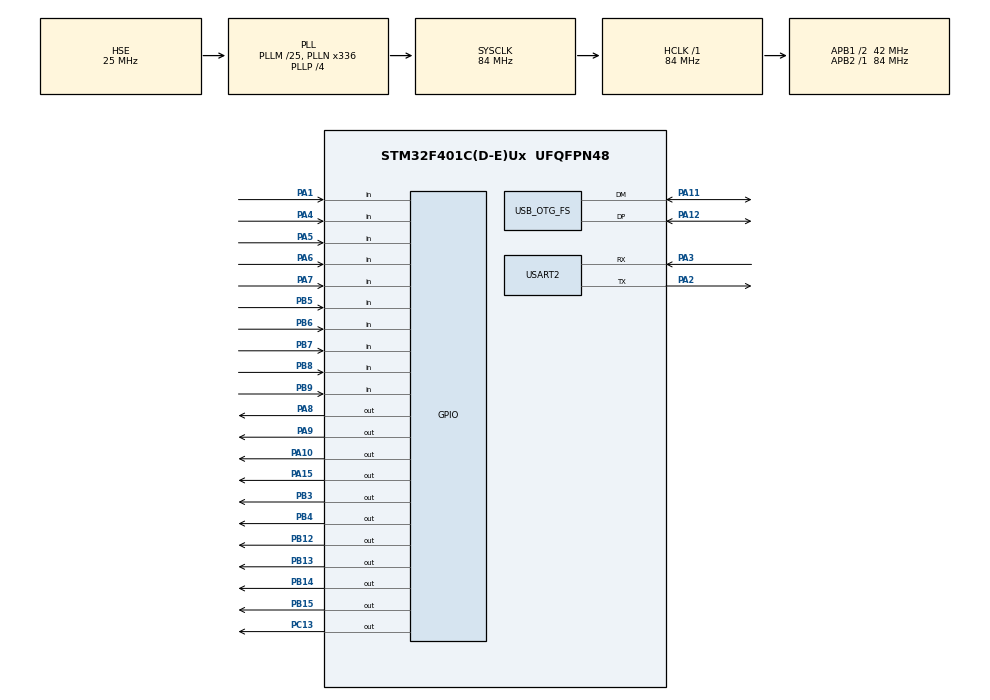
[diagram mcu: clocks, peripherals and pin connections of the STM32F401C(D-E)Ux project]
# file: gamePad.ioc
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FREERTOS.Tasks01=usbTask,32,128,StartUSBTask,Default,NULL,Dynamic,NULL,NULL;ledTask,16,128,StartLEDTask,Default,NULL,Dynamic,NULL,NULL;radioTask,32,128,StartRadioTask,Default,NULL,Dynamic,NULL,NULL;heartbeatTask,8,128,StartHeartbeatTask,Default,NULL,Dynamic,NULL,NULL;uartTask,16,128,StartUARTTask,Default,NULL,Dynamic,NULL,NULL;buttonInputTask,8,128,StartButtonInputTask,Default,NULL,Dynamic,NULL,NULL
FREERTOS.configENABLE_FPU=1
Mcu.Family=STM32F4
Mcu.Name=STM32F401C(D-E)Ux
Mcu.Package=UFQFPN48
NVIC.OTG_FS_IRQn=true\:0\:0\:false\:false\:true\:false\:false\:true
NVIC.PriorityGroup=NVIC_PRIORITYGROUP_4
NVIC.TIM1_UP_TIM10_IRQn=true\:0\:0\:false\:false\:true\:false\:true\:true
NVIC.TimeBase=TIM1_UP_TIM10_IRQn
NVIC.TimeBaseIP=TIM1
NVIC.USART2_IRQn=true\:0\:0\:false\:false\:true\:false\:true\:true
PA1.Signal=GPIO_Input
PA10.GPIO_ModeDefaultOutputPP=GPIO_MODE_OUTPUT_PP
PA10.GPIO_PuPd=GPIO_PULLUP
PA10.Signal=GPIO_Output
PA11.Mode=Device_Only
PA11.Signal=USB_OTG_FS_DM
PA12.Mode=Device_Only
PA12.Signal=USB_OTG_FS_DP
PA13.Mode=Serial_Wire
PA13.Signal=SYS_JTMS-SWDIO
PA14.Mode=Serial_Wire
PA14.Signal=SYS_JTCK-SWCLK
PA15.GPIO_ModeDefaultOutputPP=GPIO_MODE_OUTPUT_PP
PA15.GPIO_PuPd=GPIO_PULLUP
PA15.Signal=GPIO_Output
PA2.Mode=Asynchronous
PA2.Signal=USART2_TX
PA3.Mode=Asynchronous
PA3.Signal=USART2_RX
PA4.Signal=GPIO_Input
PA5.Signal=GPIO_Input
PA6.Signal=GPIO_Input
PA7.Signal=GPIO_Input
PA8.GPIO_ModeDefaultOutputPP=GPIO_MODE_OUTPUT_PP
PA8.GPIO_PuPd=GPIO_PULLUP
PA8.Signal=GPIO_Output
PA9.GPIO_ModeDefaultOutputPP=GPIO_MODE_OUTPUT_PP
PA9.GPIO_PuPd=GPIO_PULLUP
PA9.Signal=GPIO_Output
PB12.GPIO_ModeDefaultOutputPP=GPIO_MODE_OUTPUT_PP
PB12.GPIO_PuPd=GPIO_PULLUP
PB12.Signal=GPIO_Output
PB13.GPIO_ModeDefaultOutputPP=GPIO_MODE_OUTPUT_PP
PB13.GPIO_PuPd=GPIO_PULLUP
PB13.Signal=GPIO_Output
PB14.GPIO_ModeDefaultOutputPP=GPIO_MODE_OUTPUT_PP
PB14.GPIO_PuPd=GPIO_PULLUP
PB14.Signal=GPIO_Output
PB15.GPIO_ModeDefaultOutputPP=GPIO_MODE_OUTPUT_PP
PB15.GPIO_PuPd=GPIO_PULLUP
PB15.Signal=GPIO_Output
PB3.GPIO_ModeDefaultOutputPP=GPIO_MODE_OUTPUT_PP
PB3.GPIO_PuPd=GPIO_PULLUP
PB3.Signal=GPIO_Output
PB4.GPIO_ModeDefaultOutputPP=GPIO_MODE_OUTPUT_PP
PB4.GPIO_PuPd=GPIO_PULLUP
PB4.Signal=GPIO_Output
PB5.Signal=GPIO_Input
PB6.Signal=GPIO_Input
PB7.Signal=GPIO_Input
PB8.Signal=GPIO_Input
PB9.Signal=GPIO_Input
PC13-ANTI_TAMP.GPIO_ModeDefaultOutputPP=GPIO_MODE_OUTPUT_PP
PC13-ANTI_TAMP.GPIO_PuPd=GPIO_PULLUP
PC13-ANTI_TAMP.Signal=GPIO_Output
PC14-OSC32_IN.Mode=LSE-External-Oscillator
PC14-OSC32_IN.Signal=RCC_OSC32_IN
PC15-OSC32_OUT.Mode=LSE-External-Oscillator
PC15-OSC32_OUT.Signal=RCC_OSC32_OUT
PH0\ -\ OSC_IN.Mode=HSE-External-Oscillator
PH0\ -\ OSC_IN.Signal=RCC_OSC_IN
PH1\ -\ OSC_OUT.Mode=HSE-External-Oscillator
PH1\ -\ OSC_OUT.Signal=RCC_OSC_OUT
ProjectManager.HeapSize=0x200
ProjectManager.StackSize=0x400
ProjectManager.TargetToolchain=STM32CubeIDE
RCC.48MHZClocksFreq_Value=48000000
RCC.AHBFreq_Value=84000000
RCC.APB1CLKDivider=RCC_HCLK_DIV2
RCC.APB1Freq_Value=42000000
RCC.APB1TimFreq_Value=84000000
RCC.APB2Freq_Value=84000000
RCC.APB2TimFreq_Value=84000000
RCC.CortexFreq_Value=84000000
RCC.HCLKFreq_Value=84000000
RCC.HSE_VALUE=25000000
RCC.HSI_VALUE=16000000
RCC.PLLM=25
RCC.PLLN=336
RCC.PLLP=RCC_PLLP_DIV4
RCC.PLLQ=7
RCC.SYSCLKFreq_VALUE=84000000
RCC.SYSCLKSource=RCC_SYSCLKSOURCE_PLLCLK
RCC.VCOOutputFreq_Value=336000000
USART2.VirtualMode=VM_ASYNC
USB_DEVICE.CLASS_NAME_FS=HID
USB_DEVICE.MANUFACTURER_STRING-HID_FS=gigahurtz
USB_DEVICE.PID_HID_FS=1
USB_DEVICE.PRODUCT_STRING_HID_FS=gamepad v1
USB_DEVICE.VID-HID_FS=13330
USB_DEVICE.VirtualMode-HID_FS=Hid
USB_DEVICE.VirtualModeFS=Hid_FS
USB_OTG_FS.VirtualMode=Device_Only
VP_FREERTOS_VS_CMSIS_V2.Mode=CMSIS_V2
VP_SYS_VS_tim1.Mode=TIM1
VP_USB_DEVICE_VS_USB_DEVICE_HID_FS.Mode=HID_FS
board=custom

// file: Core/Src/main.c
/* USER CODE BEGIN Header */
/**
  ******************************************************************************
  * @file           : main.c
  * @brief          : Main program body
  ******************************************************************************
  * @attention
  *
  * <h2><center>&copy; Copyright (c) 2020 STMicroelectronics.
  * All rights reserved.</center></h2>
  *
  * This software component is licensed by ST under BSD 3-Clause license,
  * the "License"; You may not use this file except in compliance with the
  * License. You may obtain a copy of the License at:
  *                        opensource.org/licenses/BSD-3-Clause
  *
  ******************************************************************************
  */
/* USER CODE END Header */
#include "main.h"
#include "cmsis_os.h"
#include "usb_device.h"

/* USER CODE BEGIN Includes */
#include "string.h"
#include "stdio.h"
#include "lightbar.h"
#include "buttons.h"
/* USER CODE END Includes */

UART_HandleTypeDef huart2;

/* Definitions for usbTask */
osThreadId_t usbTaskHandle;
const osThreadAttr_t usbTask_attributes = {
  .name = "usbTask",
  .priority = (osPriority_t) osPriorityAboveNormal,
  .stack_size = 128 * 4
};
/* Definitions for ledTask */
osThreadId_t ledTaskHandle;
const osThreadAttr_t ledTask_attributes = {
  .name = "ledTask",
  .priority = (osPriority_t) osPriorityBelowNormal,
  .stack_size = 128 * 4
};
/* Definitions for radioTask */
osThreadId_t radioTaskHandle;
const osThreadAttr_t radioTask_attributes = {
  .name = "radioTask",
  .priority = (osPriority_t) osPriorityAboveNormal,
  .stack_size = 128 * 4
};
/* Definitions for heartbeatTask */
osThreadId_t heartbeatTaskHandle;
const osThreadAttr_t heartbeatTask_attributes = {
  .name = "heartbeatTask",
  .priority = (osPriority_t) osPriorityLow,
  .stack_size = 128 * 4
};
/* Definitions for uartTask */
osThreadId_t uartTaskHandle;
const osThreadAttr_t uartTask_attributes = {
  .name = "uartTask",
  .priority = (osPriority_t) osPriorityBelowNormal,
  .stack_size = 128 * 4
};
/* Definitions for buttonInputTask */
osThreadId_t buttonInputTaskHandle;
const osThreadAttr_t buttonInputTask_attributes = {
  .name = "buttonInputTask",
  .priority = (osPriority_t) osPriorityLow,
  .stack_size = 128 * 4
};
/* USER CODE BEGIN PV */

uint16_t blinkTimer = 0;
uint16_t inputPollTimer = 0;			//Initialise as 5 so that calls fall 5ms either side of blink calls, instead of overlapping every time
uint16_t lightbarUpdateTimer = 0;		//

char outBuff[64] = {0};

uint16_t temp;

/* USER CODE END PV */

void SystemClock_Config(void);
static void MX_GPIO_Init(void);
static void MX_USART2_UART_Init(void);
void StartUSBTask(void *argument);
void StartLEDTask(void *argument);
void StartRadioTask(void *argument);
void StartHeartbeatTask(void *argument);
void StartUARTTask(void *argument);
void StartButtonInputTask(void *argument);

/* USER CODE BEGIN PFP */
void debugPrint(char _out[]);
/* USER CODE END PFP */

int main(void)
{

  /* MCU Configuration--------------------------------------------------------*/

  /* Reset of all peripherals, Initializes the Flash interface and the Systick. */
  HAL_Init();

  /* Configure the system clock */
  SystemClock_Config();

  /* Initialize all configured peripherals */
  MX_GPIO_Init();
  MX_USART2_UART_Init();

  /* Init scheduler */
  osKernelInitialize();

  /* Create the thread(s) */
  /* creation of usbTask */
  usbTaskHandle = osThreadNew(StartUSBTask, NULL, &usbTask_attributes);

  /* creation of ledTask */
  ledTaskHandle = osThreadNew(StartLEDTask, NULL, &ledTask_attributes);

  /* creation of radioTask */
  radioTaskHandle = osThreadNew(StartRadioTask, NULL, &radioTask_attributes);

  /* creation of heartbeatTask */
  heartbeatTaskHandle = osThreadNew(StartHeartbeatTask, NULL, &heartbeatTask_attributes);

  /* creation of uartTask */
  uartTaskHandle = osThreadNew(StartUARTTask, NULL, &uartTask_attributes);

  /* creation of buttonInputTask */
  buttonInputTaskHandle = osThreadNew(StartButtonInputTask, NULL, &buttonInputTask_attributes);

  /* Start scheduler */
  osKernelStart();

  /* We should never get here as control is now taken by the scheduler */
  /* Infinite loop */
  while (1)
  {

  }
}

void SystemClock_Config(void)
{
  RCC_OscInitTypeDef RCC_OscInitStruct = {0};
  RCC_ClkInitTypeDef RCC_ClkInitStruct = {0};

  /** Configure the main internal regulator output voltage
  */
  __HAL_RCC_PWR_CLK_ENABLE();
  __HAL_PWR_VOLTAGESCALING_CONFIG(PWR_REGULATOR_VOLTAGE_SCALE2);
  /** Initializes the RCC Oscillators according to the specified parameters
  * in the RCC_OscInitTypeDef structure.
  */
  RCC_OscInitStruct.OscillatorType = RCC_OSCILLATORTYPE_HSE;
  RCC_OscInitStruct.HSEState = RCC_HSE_ON;
  RCC_OscInitStruct.PLL.PLLState = RCC_PLL_ON;
  RCC_OscInitStruct.PLL.PLLSource = RCC_PLLSOURCE_HSE;
  RCC_OscInitStruct.PLL.PLLM = 25;
  RCC_OscInitStruct.PLL.PLLN = 336;
  RCC_OscInitStruct.PLL.PLLP = RCC_PLLP_DIV4;
  RCC_OscInitStruct.PLL.PLLQ = 7;
  if (HAL_RCC_OscConfig(&RCC_OscInitStruct) != HAL_OK)
  {
    Error_Handler();
  }
  /** Initializes the CPU, AHB and APB buses clocks
  */
  RCC_ClkInitStruct.ClockType = RCC_CLOCKTYPE_HCLK|RCC_CLOCKTYPE_SYSCLK
                              |RCC_CLOCKTYPE_PCLK1|RCC_CLOCKTYPE_PCLK2;
  RCC_ClkInitStruct.SYSCLKSource = RCC_SYSCLKSOURCE_PLLCLK;
  RCC_ClkInitStruct.AHBCLKDivider = RCC_SYSCLK_DIV1;
  RCC_ClkInitStruct.APB1CLKDivider = RCC_HCLK_DIV2;
  RCC_ClkInitStruct.APB2CLKDivider = RCC_HCLK_DIV1;

  if (HAL_RCC_ClockConfig(&RCC_ClkInitStruct, FLASH_LATENCY_2) != HAL_OK)
  {
    Error_Handler();
  }
}

static void MX_USART2_UART_Init(void)
{

  huart2.Instance = USART2;
  huart2.Init.BaudRate = 115200;
  huart2.Init.WordLength = UART_WORDLENGTH_8B;
  huart2.Init.StopBits = UART_STOPBITS_1;
  huart2.Init.Parity = UART_PARITY_NONE;
  huart2.Init.Mode = UART_MODE_TX_RX;
  huart2.Init.HwFlowCtl = UART_HWCONTROL_NONE;
  huart2.Init.OverSampling = UART_OVERSAMPLING_16;
  if (HAL_UART_Init(&huart2) != HAL_OK)
  {
    Error_Handler();
  }

}

static void MX_GPIO_Init(void)
{
  GPIO_InitTypeDef GPIO_InitStruct = {0};

  /* GPIO Ports Clock Enable */
  __HAL_RCC_GPIOC_CLK_ENABLE();
  __HAL_RCC_GPIOH_CLK_ENABLE();
  __HAL_RCC_GPIOA_CLK_ENABLE();
  __HAL_RCC_GPIOB_CLK_ENABLE();

  /*Configure GPIO pin Output Level */
  HAL_GPIO_WritePin(GPIOC, GPIO_PIN_13, GPIO_PIN_RESET);

  /*Configure GPIO pin Output Level */
  HAL_GPIO_WritePin(GPIOB, GPIO_PIN_12|GPIO_PIN_13|GPIO_PIN_14|GPIO_PIN_15
                          |GPIO_PIN_3|GPIO_PIN_4, GPIO_PIN_RESET);

  /*Configure GPIO pin Output Level */
  HAL_GPIO_WritePin(GPIOA, GPIO_PIN_8|GPIO_PIN_9|GPIO_PIN_10|GPIO_PIN_15, GPIO_PIN_RESET);

  /*Configure GPIO pin : PC13 */
  GPIO_InitStruct.Pin = GPIO_PIN_13;
  GPIO_InitStruct.Mode = GPIO_MODE_OUTPUT_PP;
  GPIO_InitStruct.Pull = GPIO_PULLUP;
  GPIO_InitStruct.Speed = GPIO_SPEED_FREQ_LOW;
  HAL_GPIO_Init(GPIOC, &GPIO_InitStruct);

  /*Configure GPIO pins : PA1 PA4 PA5 PA6
                           PA7 */
  GPIO_InitStruct.Pin = GPIO_PIN_1|GPIO_PIN_4|GPIO_PIN_5|GPIO_PIN_6
                          |GPIO_PIN_7;
  GPIO_InitStruct.Mode = GPIO_MODE_INPUT;
  GPIO_InitStruct.Pull = GPIO_NOPULL;
  HAL_GPIO_Init(GPIOA, &GPIO_InitStruct);

  /*Configure GPIO pins : PB12 PB13 PB14 PB15
                           PB3 PB4 */
  GPIO_InitStruct.Pin = GPIO_PIN_12|GPIO_PIN_13|GPIO_PIN_14|GPIO_PIN_15
                          |GPIO_PIN_3|GPIO_PIN_4;
  GPIO_InitStruct.Mode = GPIO_MODE_OUTPUT_PP;
  GPIO_InitStruct.Pull = GPIO_PULLUP;
  GPIO_InitStruct.Speed = GPIO_SPEED_FREQ_LOW;
  HAL_GPIO_Init(GPIOB, &GPIO_InitStruct);

  /*Configure GPIO pins : PA8 PA9 PA10 PA15 */
  GPIO_InitStruct.Pin = GPIO_PIN_8|GPIO_PIN_9|GPIO_PIN_10|GPIO_PIN_15;
  GPIO_InitStruct.Mode = GPIO_MODE_OUTPUT_PP;
  GPIO_InitStruct.Pull = GPIO_PULLUP;
  GPIO_InitStruct.Speed = GPIO_SPEED_FREQ_LOW;
  HAL_GPIO_Init(GPIOA, &GPIO_InitStruct);

  /*Configure GPIO pins : PB5 PB6 PB7 PB8
                           PB9 */
  GPIO_InitStruct.Pin = GPIO_PIN_5|GPIO_PIN_6|GPIO_PIN_7|GPIO_PIN_8
                          |GPIO_PIN_9;
  GPIO_InitStruct.Mode = GPIO_MODE_INPUT;
  GPIO_InitStruct.Pull = GPIO_NOPULL;
  HAL_GPIO_Init(GPIOB, &GPIO_InitStruct);

}

/* USER CODE BEGIN 4 */

void debugPrint(char _out[])
{
	HAL_UART_Transmit_IT(&huart2, (uint8_t *) _out, strlen(_out));
}

/* USER CODE END 4 */

void StartUSBTask(void *argument)
{
  /* init code for USB_DEVICE */
  MX_USB_DEVICE_Init();
  /* USER CODE BEGIN 5 */

  uint16_t status;

  usbInit();

  /* Infinite loop */
  for(;;)
  {
	// Send HID report
	buttons_getStatus(&status);
	usbSend(status);
    osDelay(10);
  }
  /* USER CODE END 5 */
}

void StartLEDTask(void *argument)
{
  /* USER CODE BEGIN StartLEDTask */
  /* Infinite loop */
  for(;;)
  {
	lightbar_update();
    osDelay(LIGHTBAR_UPDATE_PERIOD_MS);
  }
  /* USER CODE END StartLEDTask */
}

void StartRadioTask(void *argument)
{
  /* USER CODE BEGIN StartRadioTask */
  /* Infinite loop */
  for(;;)
  {
	//TODO: implement nRF24L01 radio
    osDelay(10000);
  }
  /* USER CODE END StartRadioTask */
}

void StartHeartbeatTask(void *argument)
{
  /* USER CODE BEGIN StartHeartbeatTask */
  /* Infinite loop */
  for(;;)
  {
	//toggle pc13
	HAL_GPIO_TogglePin(GPIOC, GPIO_PIN_13);
    osDelay(BLINK_PERIOD_MS);
  }
  /* USER CODE END StartHeartbeatTask */
}

void StartUARTTask(void *argument)
{
  /* USER CODE BEGIN StartUARTTask */
  uint8_t counter;
  /* Infinite loop */
  for(;;)
  {
	sprintf(outBuff, "counter: %d\n\r", counter++);
	debugPrint(outBuff);
    osDelay(1000);
  }
  /* USER CODE END StartUARTTask */
}

void StartButtonInputTask(void *argument)
{
  /* USER CODE BEGIN StartButtonInputTask */
  /* Infinite loop */
  for(;;)
  {
    //read button inputs
	buttons_update();
	buttons_process();
	buttons_getStatus(&temp);
	lightbar_set(temp);
    osDelay(INPUT_POLL_PERIOD_MS);
  }
  /* USER CODE END StartButtonInputTask */
}

void HAL_TIM_PeriodElapsedCallback(TIM_HandleTypeDef *htim)
{
  if (htim->Instance == TIM1) {
    HAL_IncTick();
  }
}

void Error_Handler(void)
{
}

/************************ (C) COPYRIGHT STMicroelectronics *****END OF FILE****/
